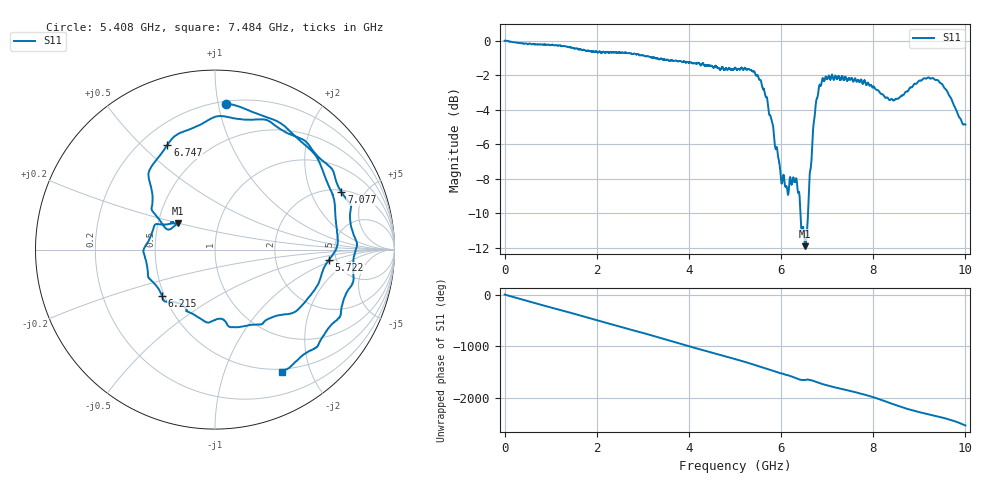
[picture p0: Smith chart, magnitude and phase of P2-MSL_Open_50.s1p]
! 2/19/2018 12:56:37 PM
! E:\STEPPED_EXPERIMENT_2018-02-19\P2-MSL_OPEN_50.S1P
! CHANNEL.1
! TR.MEASUREMENT
! CORRECTED.DATA
# GHZ S RI R 50.0
! FREQ.GHZ  S22RE  S22IM
!; PortSelection: Port_2
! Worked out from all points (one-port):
!   10000 points, 1 MHz to 10 GHz, reference 50 ohm
!   lowest |S11| = -11.9 dB at 6.523 GHz (marker M1), VSWR 1.68, Z = 31.6 + j9.82 ohm
!   |S11| at or under -10 dB: 6.421 GHz to 6.585 GHz (164.1 MHz wide, 2.52 % of centre)
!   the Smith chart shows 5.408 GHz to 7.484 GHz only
!   S11 on the Smith chart (normalised r, x): 5.408 GHz: 0.22, +1.05; 5.722 GHz: 4.34, -0.84; 6.215 GHz: 0.49, -0.29; 6.747 GHz: 0.30, +0.60; 7.077 GHz: 2.12, +3.37; 7.484 GHz: 0.47, -1.58
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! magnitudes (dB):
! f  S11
! 1 MHz  0.0
! 1.251 GHz  -0.3
! 2.501 GHz  -0.7
! 3.751 GHz  -1.2
! 5.001 GHz  -1.6
! 5.408 GHz  -1.8
! 5.587 GHz  -2.6
! 5.722 GHz  -3.9
! 6 GHz  -8.1
! 6.126 GHz  -8.5
! 6.215 GHz  -8.1
! 6.251 GHz  -8.1
! 6.359 GHz  -8.6
! 6.474 GHz  -10.8
! 6.523 GHz  -11.9
! 6.56 GHz  -11.2
! 6.658 GHz  -7.0
! 6.747 GHz  -3.9
! 6.866 GHz  -2.6
! 7.077 GHz  -2.2
! 7.484 GHz  -2.2
! 7.501 GHz  -2.3
! 7.849 GHz  -2.6
! 8.389 GHz  -3.4
! 8.751 GHz  -2.9
! 9.104 GHz  -2.2
! 9.39 GHz  -2.3
! 10 GHz  -4.9
